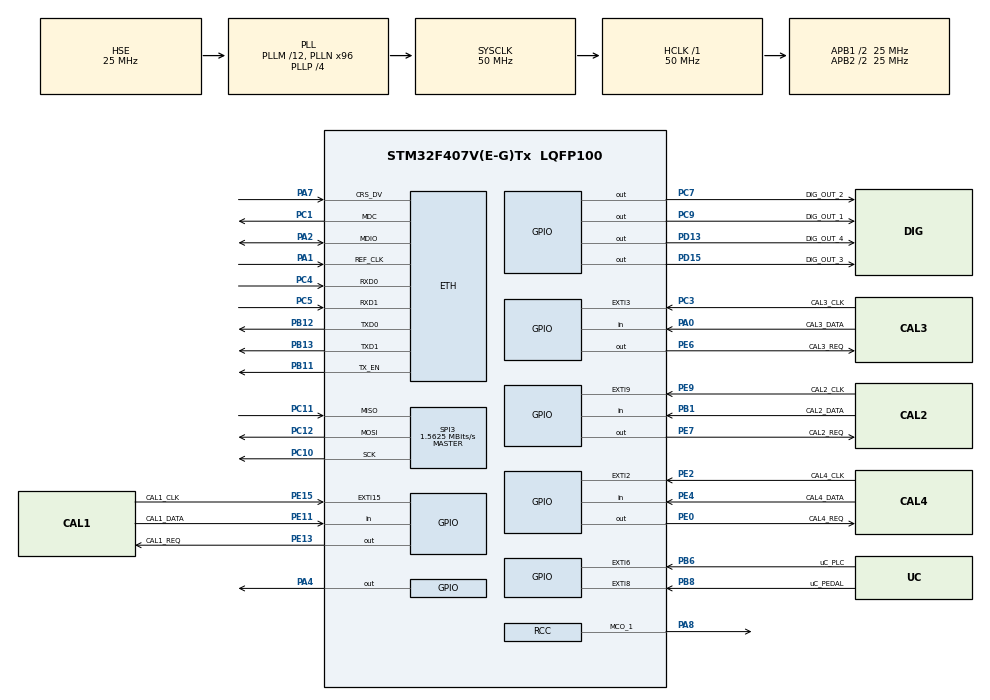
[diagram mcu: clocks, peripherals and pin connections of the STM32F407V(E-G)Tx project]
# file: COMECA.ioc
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ETH.AutoNegotiation=ETH_AUTONEGOTIATION_DISABLE
ETH.MediaInterface=ETH_MEDIA_INTERFACE_RMII
ETH.PHY_DUPLEX_STATUS=0x0010
ETH.PHY_Name_RMII=userPHY
ETH.PHY_SPEED_STATUS=0x0004
ETH.PHY_SR=0x1F
ETH.PHY_User_Name=LAN8720A
ETH.PhyAddress=0
ETH.Speed=ETH_SPEED_10M
LWIP.GATEWAY_ADDRESS=192.168.001.001
LWIP.IP_ADDRESS=192.168.001.042
LWIP.LWIP_BROADCAST_PING=1
LWIP.LWIP_DHCP=0
LWIP.LWIP_MULTICAST_PING=1
LWIP.LWIP_NETIF_REMOVE_CALLBACK=1
LWIP.MEM_SIZE=10*1024
LWIP.NETMASK_ADDRESS=255.255.255.000
LWIP.Version=v2.1.2_Cube
Mcu.Family=STM32F4
Mcu.Name=STM32F407V(E-G)Tx
Mcu.Package=LQFP100
NVIC.EXTI15_10_IRQn=true\:0\:0\:false\:false\:true\:true\:true
NVIC.EXTI2_IRQn=true\:0\:0\:false\:false\:true\:true\:true
NVIC.EXTI3_IRQn=true\:0\:0\:false\:false\:true\:true\:true
NVIC.EXTI9_5_IRQn=true\:0\:0\:false\:false\:true\:true\:true
NVIC.PriorityGroup=NVIC_PRIORITYGROUP_4
NVIC.SPI3_IRQn=true\:0\:0\:false\:false\:true\:true\:true
NVIC.TIM8_TRG_COM_TIM14_IRQn=true\:0\:0\:false\:false\:true\:true\:true
PA0-WKUP.GPIO_Label=CAL3_DATA
PA0-WKUP.GPIO_PuPd=GPIO_PULLUP
PA0-WKUP.Signal=GPIO_Input
PA1.Mode=RMII
PA1.Signal=ETH_REF_CLK
PA13.Mode=Serial_Wire
PA13.Signal=SYS_JTMS-SWDIO
PA14.Mode=Serial_Wire
PA14.Signal=SYS_JTCK-SWCLK
PA2.Mode=RMII
PA2.Signal=ETH_MDIO
PA4.GPIO_Speed=GPIO_SPEED_FREQ_VERY_HIGH
PA4.PinState=GPIO_PIN_SET
PA4.Signal=GPIO_Output
PA7.Mode=RMII
PA7.Signal=ETH_CRS_DV
PA8.GPIO_Speed=GPIO_SPEED_FREQ_VERY_HIGH
PA8.Mode=Clock-out-1
PA8.Signal=RCC_MCO_1
PB1.GPIO_Label=CAL2_DATA
PB1.GPIO_PuPd=GPIO_PULLUP
PB1.Signal=GPIO_Input
PB11.Mode=RMII
PB11.Signal=ETH_TX_EN
PB12.Mode=RMII
PB12.Signal=ETH_TXD0
PB13.Mode=RMII
PB13.Signal=ETH_TXD1
PB6.GPIO_Label=uC_PLC
PB6.GPIO_ModeDefaultEXTI=GPIO_MODE_IT_FALLING
PB6.Signal=GPXTI6
PB8.GPIO_Label=uC_PEDAL
PB8.GPIO_ModeDefaultEXTI=GPIO_MODE_IT_FALLING
PB8.Signal=GPXTI8
PC1.Mode=RMII
PC1.Signal=ETH_MDC
PC10.Mode=Full_Duplex_Master
PC10.Signal=SPI3_SCK
PC11.Mode=Full_Duplex_Master
PC11.Signal=SPI3_MISO
PC12.Mode=Full_Duplex_Master
PC12.Signal=SPI3_MOSI
PC3.GPIO_Label=CAL3_CLK
PC3.GPIO_PuPd=GPIO_PULLUP
PC3.Signal=GPXTI3
PC4.Mode=RMII
PC4.Signal=ETH_RXD0
PC5.Mode=RMII
PC5.Signal=ETH_RXD1
PC7.GPIO_Label=DIG_OUT_2
PC7.Signal=GPIO_Output
PC9.GPIO_Label=DIG_OUT_1
PC9.Signal=GPIO_Output
PD13.GPIO_Label=DIG_OUT_4
PD13.Signal=GPIO_Output
PD15.GPIO_Label=DIG_OUT_3
PD15.Signal=GPIO_Output
PE0.GPIO_Label=CAL4_REQ
PE0.GPIO_ModeDefaultOutputPP=GPIO_MODE_OUTPUT_OD
PE0.Signal=GPIO_Output
PE11.GPIO_Label=CAL1_DATA
PE11.GPIO_PuPd=GPIO_PULLUP
PE11.Signal=GPIO_Input
PE13.GPIO_Label=CAL1_REQ
PE13.GPIO_ModeDefaultOutputPP=GPIO_MODE_OUTPUT_OD
PE13.Signal=GPIO_Output
PE15.GPIO_Label=CAL1_CLK
PE15.GPIO_PuPd=GPIO_PULLUP
PE15.Signal=GPXTI15
PE2.GPIO_Label=CAL4_CLK
PE2.GPIO_PuPd=GPIO_PULLUP
PE2.Signal=GPXTI2
PE4.GPIO_Label=CAL4_DATA
PE4.GPIO_PuPd=GPIO_PULLUP
PE4.Signal=GPIO_Input
PE6.GPIO_Label=CAL3_REQ
PE6.GPIO_ModeDefaultOutputPP=GPIO_MODE_OUTPUT_OD
PE6.Signal=GPIO_Output
PE7.GPIO_Label=CAL2_REQ
PE7.GPIO_ModeDefaultOutputPP=GPIO_MODE_OUTPUT_OD
PE7.Signal=GPIO_Output
PE9.GPIO_Label=CAL2_CLK
PE9.GPIO_PuPd=GPIO_PULLUP
PE9.Signal=GPXTI9
PH0-OSC_IN.Mode=HSE-External-Oscillator
PH0-OSC_IN.Signal=RCC_OSC_IN
PH1-OSC_OUT.Mode=HSE-External-Oscillator
PH1-OSC_OUT.Signal=RCC_OSC_OUT
ProjectManager.HeapSize=0x200
ProjectManager.StackSize=0x400
ProjectManager.TargetToolchain=STM32CubeIDE
RCC.48MHZClocksFreq_Value=50000000
RCC.AHBFreq_Value=50000000
RCC.APB1CLKDivider=RCC_HCLK_DIV2
RCC.APB1Freq_Value=25000000
RCC.APB1TimFreq_Value=50000000
RCC.APB2CLKDivider=RCC_HCLK_DIV2
RCC.APB2Freq_Value=25000000
RCC.APB2TimFreq_Value=50000000
RCC.CortexFreq_Value=50000000
RCC.HCLKFreq_Value=50000000
RCC.HSE_VALUE=25000000
RCC.HSI_VALUE=16000000
RCC.LSE_VALUE=32768
RCC.PLLM=12
RCC.PLLN=96
RCC.PLLP=RCC_PLLP_DIV4
RCC.PLLSourceVirtual=RCC_PLLSOURCE_HSE
RCC.RCC_MCO1Source=RCC_MCO1SOURCE_PLLCLK
RCC.SYSCLKFreq_VALUE=50000000
RCC.SYSCLKSource=RCC_SYSCLKSOURCE_PLLCLK
RCC.VCOOutputFreq_Value=200000000
SPI3.BaudRatePrescaler=SPI_BAUDRATEPRESCALER_16
SPI3.CalculateBaudRate=1.5625 MBits/s
SPI3.DataSize=SPI_DATASIZE_8BIT
SPI3.Direction=SPI_DIRECTION_2LINES
SPI3.Mode=SPI_MODE_MASTER
SPI3.VirtualType=VM_MASTER
TIM14.Period=500 - 1
TIM14.Prescaler=800 - 1
VP_LWIP_VS_Enabled.Mode=Enabled
VP_TIM14_VS_ClockSourceINT.Mode=Enable_Timer
board=custom

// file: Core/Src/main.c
/* USER CODE BEGIN Header */
/**
  ******************************************************************************
  * @file           : main.c
  * @brief          : Main program body
  ******************************************************************************
  * @attention
  *
  * <h2><center>&copy; Copyright (c) 2021 STMicroelectronics.
  * All rights reserved.</center></h2>
  *
  * This software component is licensed by ST under BSD 3-Clause license,
  * the "License"; You may not use this file except in compliance with the
  * License. You may obtain a copy of the License at:
  *                        opensource.org/licenses/BSD-3-Clause
  *
  ******************************************************************************
  */
/* USER CODE END Header */
#include "main.h"
#include "lwip.h"

/* USER CODE BEGIN Includes */
//#include "../../ExternalLibs/UDPClient/Inc/udpClientRAW.h"
#include "../../ExternalLibs/UDPServer/Inc/udpServerRAW.h"

#include "../../Comeca/DigimaticProtocol/Inc/digimatic.h"

#include "../../Comeca/Managers/Inc/caliperManager.h"
#include "../../Comeca/Managers/Inc/pieceCountManager.h"

/* USER CODE END Includes */

/* USER CODE BEGIN PTD */

typedef enum {
    READ_ANALOG_INPUT,
    SET_DIGITAL_OUTPUT,
	INVALID_RX_FRAME
} received_frame_t;

typedef enum {
    CALIPER_MEASURE,
    ANALOG_IN_MEASURE,
    INCREMENT_COUNTER,
    WARNING_NOT_VALID_CALIPER_MEASURE,
    RETRY_ANALOG_IN_MEASURE
} send_frame_t;

/* USER CODE END PTD */

SPI_HandleTypeDef hspi3;

TIM_HandleTypeDef htim14;

/* USER CODE BEGIN PV */

uint8_t rxBuffer[2];

/* USER CODE END PV */

void SystemClock_Config(void);
static void MX_GPIO_Init(void);
static void MX_TIM14_Init(void);
static void MX_SPI3_Init(void);

int main(void)
{

  /* MCU Configuration--------------------------------------------------------*/

  /* Reset of all peripherals, Initializes the Flash interface and the Systick. */
  HAL_Init();

  /* Configure the system clock */
  SystemClock_Config();

  /* USER CODE BEGIN SysInit */
  HAL_Delay(5000);

  /* USER CODE END SysInit */

  /* Initialize all configured peripherals */
  MX_GPIO_Init();
  MX_TIM14_Init();
  MX_LWIP_Init();
  MX_SPI3_Init();
  /* USER CODE BEGIN 2 */
//  udpClient_connect();
  udpServer_init();

  /* USER CODE END 2 */

  /* Infinite loop */
  while (1)
  {

    /* USER CODE BEGIN 3 */
	  MX_LWIP_Process();

  }
  /* USER CODE END 3 */
}

void SystemClock_Config(void)
{
  RCC_OscInitTypeDef RCC_OscInitStruct = {0};
  RCC_ClkInitTypeDef RCC_ClkInitStruct = {0};

  /** Configure the main internal regulator output voltage
  */
  __HAL_RCC_PWR_CLK_ENABLE();
  __HAL_PWR_VOLTAGESCALING_CONFIG(PWR_REGULATOR_VOLTAGE_SCALE1);
  /** Initializes the RCC Oscillators according to the specified parameters
  * in the RCC_OscInitTypeDef structure.
  */
  RCC_OscInitStruct.OscillatorType = RCC_OSCILLATORTYPE_HSE;
  RCC_OscInitStruct.HSEState = RCC_HSE_ON;
  RCC_OscInitStruct.PLL.PLLState = RCC_PLL_ON;
  RCC_OscInitStruct.PLL.PLLSource = RCC_PLLSOURCE_HSE;
  RCC_OscInitStruct.PLL.PLLM = 12;
  RCC_OscInitStruct.PLL.PLLN = 96;
  RCC_OscInitStruct.PLL.PLLP = RCC_PLLP_DIV4;
  RCC_OscInitStruct.PLL.PLLQ = 4;
  if (HAL_RCC_OscConfig(&RCC_OscInitStruct) != HAL_OK)
  {
    Error_Handler();
  }
  /** Initializes the CPU, AHB and APB buses clocks
  */
  RCC_ClkInitStruct.ClockType = RCC_CLOCKTYPE_HCLK|RCC_CLOCKTYPE_SYSCLK
                              |RCC_CLOCKTYPE_PCLK1|RCC_CLOCKTYPE_PCLK2;
  RCC_ClkInitStruct.SYSCLKSource = RCC_SYSCLKSOURCE_PLLCLK;
  RCC_ClkInitStruct.AHBCLKDivider = RCC_SYSCLK_DIV1;
  RCC_ClkInitStruct.APB1CLKDivider = RCC_HCLK_DIV2;
  RCC_ClkInitStruct.APB2CLKDivider = RCC_HCLK_DIV2;

  if (HAL_RCC_ClockConfig(&RCC_ClkInitStruct, FLASH_LATENCY_1) != HAL_OK)
  {
    Error_Handler();
  }
  HAL_RCC_MCOConfig(RCC_MCO1, RCC_MCO1SOURCE_PLLCLK, RCC_MCODIV_1);
}

static void MX_SPI3_Init(void)
{

  /* SPI3 parameter configuration*/
  hspi3.Instance = SPI3;
  hspi3.Init.Mode = SPI_MODE_MASTER;
  hspi3.Init.Direction = SPI_DIRECTION_2LINES;
  hspi3.Init.DataSize = SPI_DATASIZE_8BIT;
  hspi3.Init.CLKPolarity = SPI_POLARITY_LOW;
  hspi3.Init.CLKPhase = SPI_PHASE_1EDGE;
  hspi3.Init.NSS = SPI_NSS_SOFT;
  hspi3.Init.BaudRatePrescaler = SPI_BAUDRATEPRESCALER_16;
  hspi3.Init.FirstBit = SPI_FIRSTBIT_MSB;
  hspi3.Init.TIMode = SPI_TIMODE_DISABLE;
  hspi3.Init.CRCCalculation = SPI_CRCCALCULATION_DISABLE;
  hspi3.Init.CRCPolynomial = 10;
  if (HAL_SPI_Init(&hspi3) != HAL_OK)
  {
    Error_Handler();
  }

}

static void MX_TIM14_Init(void)
{

  htim14.Instance = TIM14;
  htim14.Init.Prescaler = 800 - 1;
  htim14.Init.CounterMode = TIM_COUNTERMODE_UP;
  htim14.Init.Period = 500 - 1;
  htim14.Init.ClockDivision = TIM_CLOCKDIVISION_DIV1;
  htim14.Init.AutoReloadPreload = TIM_AUTORELOAD_PRELOAD_DISABLE;
  if (HAL_TIM_Base_Init(&htim14) != HAL_OK)
  {
    Error_Handler();
  }

}

static void MX_GPIO_Init(void)
{
  GPIO_InitTypeDef GPIO_InitStruct = {0};

  /* GPIO Ports Clock Enable */
  __HAL_RCC_GPIOE_CLK_ENABLE();
  __HAL_RCC_GPIOH_CLK_ENABLE();
  __HAL_RCC_GPIOC_CLK_ENABLE();
  __HAL_RCC_GPIOA_CLK_ENABLE();
  __HAL_RCC_GPIOB_CLK_ENABLE();
  __HAL_RCC_GPIOD_CLK_ENABLE();

  /*Configure GPIO pin Output Level */
  HAL_GPIO_WritePin(GPIOE, CAL3_REQ_Pin|CAL2_REQ_Pin|CAL1_REQ_Pin|CAL4_REQ_Pin, GPIO_PIN_RESET);

  /*Configure GPIO pin Output Level */
  HAL_GPIO_WritePin(GPIOA, GPIO_PIN_4, GPIO_PIN_SET);

  /*Configure GPIO pin Output Level */
  HAL_GPIO_WritePin(GPIOD, DIG_OUT_4_Pin|DIG_OUT_3_Pin, GPIO_PIN_RESET);

  /*Configure GPIO pin Output Level */
  HAL_GPIO_WritePin(GPIOC, DIG_OUT_2_Pin|DIG_OUT_1_Pin, GPIO_PIN_RESET);

  /*Configure GPIO pins : CAL4_CLK_Pin CAL2_CLK_Pin CAL1_CLK_Pin */
  GPIO_InitStruct.Pin = CAL4_CLK_Pin|CAL2_CLK_Pin|CAL1_CLK_Pin;
  GPIO_InitStruct.Mode = GPIO_MODE_IT_RISING;
  GPIO_InitStruct.Pull = GPIO_PULLUP;
  HAL_GPIO_Init(GPIOE, &GPIO_InitStruct);

  /*Configure GPIO pins : CAL4_DATA_Pin CAL1_DATA_Pin */
  GPIO_InitStruct.Pin = CAL4_DATA_Pin|CAL1_DATA_Pin;
  GPIO_InitStruct.Mode = GPIO_MODE_INPUT;
  GPIO_InitStruct.Pull = GPIO_PULLUP;
  HAL_GPIO_Init(GPIOE, &GPIO_InitStruct);

  /*Configure GPIO pins : CAL3_REQ_Pin CAL2_REQ_Pin CAL1_REQ_Pin CAL4_REQ_Pin */
  GPIO_InitStruct.Pin = CAL3_REQ_Pin|CAL2_REQ_Pin|CAL1_REQ_Pin|CAL4_REQ_Pin;
  GPIO_InitStruct.Mode = GPIO_MODE_OUTPUT_OD;
  GPIO_InitStruct.Pull = GPIO_NOPULL;
  GPIO_InitStruct.Speed = GPIO_SPEED_FREQ_LOW;
  HAL_GPIO_Init(GPIOE, &GPIO_InitStruct);

  /*Configure GPIO pin : CAL3_CLK_Pin */
  GPIO_InitStruct.Pin = CAL3_CLK_Pin;
  GPIO_InitStruct.Mode = GPIO_MODE_IT_RISING;
  GPIO_InitStruct.Pull = GPIO_PULLUP;
  HAL_GPIO_Init(CAL3_CLK_GPIO_Port, &GPIO_InitStruct);

  /*Configure GPIO pin : CAL3_DATA_Pin */
  GPIO_InitStruct.Pin = CAL3_DATA_Pin;
  GPIO_InitStruct.Mode = GPIO_MODE_INPUT;
  GPIO_InitStruct.Pull = GPIO_PULLUP;
  HAL_GPIO_Init(CAL3_DATA_GPIO_Port, &GPIO_InitStruct);

  /*Configure GPIO pin : PA4 */
  GPIO_InitStruct.Pin = GPIO_PIN_4;
  GPIO_InitStruct.Mode = GPIO_MODE_OUTPUT_PP;
  GPIO_InitStruct.Pull = GPIO_NOPULL;
  GPIO_InitStruct.Speed = GPIO_SPEED_FREQ_VERY_HIGH;
  HAL_GPIO_Init(GPIOA, &GPIO_InitStruct);

  /*Configure GPIO pin : CAL2_DATA_Pin */
  GPIO_InitStruct.Pin = CAL2_DATA_Pin;
  GPIO_InitStruct.Mode = GPIO_MODE_INPUT;
  GPIO_InitStruct.Pull = GPIO_PULLUP;
  HAL_GPIO_Init(CAL2_DATA_GPIO_Port, &GPIO_InitStruct);

  /*Configure GPIO pins : DIG_OUT_4_Pin DIG_OUT_3_Pin */
  GPIO_InitStruct.Pin = DIG_OUT_4_Pin|DIG_OUT_3_Pin;
  GPIO_InitStruct.Mode = GPIO_MODE_OUTPUT_PP;
  GPIO_InitStruct.Pull = GPIO_NOPULL;
  GPIO_InitStruct.Speed = GPIO_SPEED_FREQ_LOW;
  HAL_GPIO_Init(GPIOD, &GPIO_InitStruct);

  /*Configure GPIO pins : DIG_OUT_2_Pin DIG_OUT_1_Pin */
  GPIO_InitStruct.Pin = DIG_OUT_2_Pin|DIG_OUT_1_Pin;
  GPIO_InitStruct.Mode = GPIO_MODE_OUTPUT_PP;
  GPIO_InitStruct.Pull = GPIO_NOPULL;
  GPIO_InitStruct.Speed = GPIO_SPEED_FREQ_LOW;
  HAL_GPIO_Init(GPIOC, &GPIO_InitStruct);

  /*Configure GPIO pin : PA8 */
  GPIO_InitStruct.Pin = GPIO_PIN_8;
  GPIO_InitStruct.Mode = GPIO_MODE_AF_PP;
  GPIO_InitStruct.Pull = GPIO_NOPULL;
  GPIO_InitStruct.Speed = GPIO_SPEED_FREQ_VERY_HIGH;
  GPIO_InitStruct.Alternate = GPIO_AF0_MCO;
  HAL_GPIO_Init(GPIOA, &GPIO_InitStruct);

  /*Configure GPIO pins : uC_PLC_Pin uC_PEDAL_Pin */
  GPIO_InitStruct.Pin = uC_PLC_Pin|uC_PEDAL_Pin;
  GPIO_InitStruct.Mode = GPIO_MODE_IT_FALLING;
  GPIO_InitStruct.Pull = GPIO_NOPULL;
  HAL_GPIO_Init(GPIOB, &GPIO_InitStruct);

  /* EXTI interrupt init*/
  HAL_NVIC_SetPriority(EXTI2_IRQn, 0, 0);
  HAL_NVIC_EnableIRQ(EXTI2_IRQn);

  HAL_NVIC_SetPriority(EXTI3_IRQn, 0, 0);
  HAL_NVIC_EnableIRQ(EXTI3_IRQn);

  HAL_NVIC_SetPriority(EXTI9_5_IRQn, 0, 0);
  HAL_NVIC_EnableIRQ(EXTI9_5_IRQn);

  HAL_NVIC_SetPriority(EXTI15_10_IRQn, 0, 0);
  HAL_NVIC_EnableIRQ(EXTI15_10_IRQn);

}

/* USER CODE BEGIN 4 */

void HAL_TIM_PeriodElapsedCallback(TIM_HandleTypeDef *htim){
	if(htim  == &htim14){
		HAL_TIM_Base_Stop_IT(&htim14);

		// todo: esta funcion va a cambiar cuando hagamos las pruebas finales, porque es solo un ejemplo.
//		HAL_GPIO_WritePin(CAL1_REQ_GPIO_Port, CAL1_REQ_Pin); // periodicamente tenemos un request, en teoria setteado cada 93.75ms, empieza bajo
		HAL_GPIO_WritePin(CAL1_REQ_GPIO_Port, CAL1_REQ_Pin, GPIO_PIN_RESET); // turn off REQ
		HAL_GPIO_WritePin(CAL2_REQ_GPIO_Port, CAL2_REQ_Pin, GPIO_PIN_RESET); //
		HAL_GPIO_WritePin(CAL3_REQ_GPIO_Port, CAL3_REQ_Pin, GPIO_PIN_RESET); //
		HAL_GPIO_WritePin(CAL4_REQ_GPIO_Port, CAL4_REQ_Pin, GPIO_PIN_RESET); //

		onRisingEdgeOfReqSignal(CALIPER_1); // prendo el flag de poder empezar a leer los bits
		onRisingEdgeOfReqSignal(CALIPER_2);
		onRisingEdgeOfReqSignal(CALIPER_3);
		onRisingEdgeOfReqSignal(CALIPER_4);
	}
}

void HAL_GPIO_EXTI_Callback(uint16_t GPIO_Pin){
	// llega una interrupcion por GPIO

	if(GPIO_Pin ==CAL1_CLK_Pin || GPIO_Pin == CAL2_CLK_Pin || GPIO_Pin == CAL3_CLK_Pin || GPIO_Pin == CAL4_CLK_Pin ){
		//esto se hace si el GPIO_Pin es alguno de los del calibre (CLK)

		onRisingEdgeOfClockSignal(getCaliperNumberGivenClockPin(GPIO_Pin), caliperManager); // aca se realiza la lectura de los bits y se va guardando en el buffer
	}

	if(GPIO_Pin == uC_PEDAL_Pin){
		// que pasa con el pedal de los calibres

	  HAL_GPIO_WritePin(CAL1_REQ_GPIO_Port, CAL1_REQ_Pin, GPIO_PIN_SET); // supose REQ starts down, we turn on the REQ
	  HAL_GPIO_WritePin(CAL2_REQ_GPIO_Port, CAL2_REQ_Pin, GPIO_PIN_SET); // supose REQ starts down, we turn on the REQ
	  HAL_GPIO_WritePin(CAL3_REQ_GPIO_Port, CAL3_REQ_Pin, GPIO_PIN_SET); // supose REQ starts down, we turn on the REQ
	  HAL_GPIO_WritePin(CAL4_REQ_GPIO_Port, CAL4_REQ_Pin, GPIO_PIN_SET); // supose REQ starts down, we turn on the REQ

	  HAL_TIM_Base_Start_IT(&htim14); // start timer
	}

	if(GPIO_Pin == uC_PLC_Pin){
		// que pasa si viene el PLC
		pieceCountManager();
	}
}

/* USER CODE END 4 */

void Error_Handler(void)
{
  __disable_irq();
  while (1)
  {
  }
}

/************************ (C) COPYRIGHT STMicroelectronics *****END OF FILE****/
